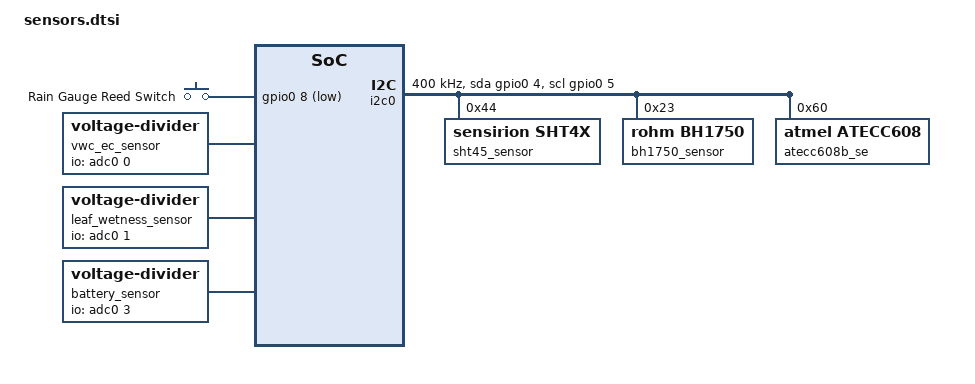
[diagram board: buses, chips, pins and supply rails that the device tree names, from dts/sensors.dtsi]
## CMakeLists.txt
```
cmake_minimum_required(VERSION 3.20.0)
find_package(Zephyr REQUIRED HINTS $ENV{ZEPHYR_BASE})
project(flip_sensor_node)

# Target sources
target_sources(app PRIVATE
    src/main.c
    src/sensors/sht45.c
    src/sensors/vwc_ec.c
    src/sensors/leaf_wetness.c
    src/sensors/rain_gauge.c
    src/sensors/bh1750.c
    src/sensors/battery.c
    src/comms/lora_sx1262.c
    src/comms/mqtt_sn.c
    src/comms/protocol.c
    src/storage/littlefs_manager.c
    src/storage/buffer_protocol.c
    src/ota/mcuboot_client.c
    src/ota/sigstore_verify.c
    src/power/deep_sleep.c
    src/power/solar_charger.c
    src/power/watchdog.c
    src/utils/cbor_codec.c
    src/utils/crc16.c
)

# Target include directories
target_include_directories(app PRIVATE
    ${CMAKE_CURRENT_SOURCE_DIR}/src
    ${CMAKE_CURRENT_SOURCE_DIR}/src/sensors
    ${CMAKE_CURRENT_SOURCE_DIR}/src/comms
    ${CMAKE_CURRENT_SOURCE_DIR}/src/storage
    ${CMAKE_CURRENT_SOURCE_DIR}/src/ota
    ${CMAKE_CURRENT_SOURCE_DIR}/src/power
    ${CMAKE_CURRENT_SOURCE_DIR}/src/utils
)
```

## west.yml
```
manifest:
  remotes:
    - name: zephyrproject-rtos
      url-base: https://github.com/zephyrproject-rtos
  defaults:
    remote: zephyrproject-rtos
    revision: v3.6.0
  projects:
    - name: zephyr
      remote: zephyrproject-rtos
      revision: v3.6.0
      import: true
    - name: hal_espressif
      remote: zephyrproject-rtos
      revision: zephyr
      path: modules/hal/espressif
    - name: mcuboot
      remote: zephyrproject-rtos
      revision: v2.0.0
      path: bootloader/mcuboot
    - name: tinycbor
      remote: zephyrproject-rtos
      revision: zephyr
      path: modules/lib/tinycbor
  self:
    path: application
```

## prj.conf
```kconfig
# Zephyr Kernel & Logging
CONFIG_LOG=y
CONFIG_LOG_MODE_IMMEDIATE=y
CONFIG_PRINTK=y
CONFIG_CBPRINTF_FP_SUPPORT=y

# SoC & Target Architecture
CONFIG_SOC_ESP32C3=y
CONFIG_MAIN_STACK_SIZE=4096
CONFIG_SYSTEM_WORKQUEUE_STACK_SIZE=2048

# Hardware Drivers
CONFIG_GPIO=y
CONFIG_I2C=y
CONFIG_SPI=y
CONFIG_ADC=y

# Sensors
CONFIG_SENSOR=y
CONFIG_SHT4X=y
CONFIG_BH1750=y

# LoRa SX1262 Transceiver
CONFIG_LORA=y
CONFIG_LORA_SX126X=y

# Storage & LittleFS External/Internal Flash
CONFIG_FILE_SYSTEM=y
CONFIG_FILE_SYSTEM_LITTLEFS=y
CONFIG_FLASH_MAP=y
CONFIG_FLASH=y
CONFIG_FLASH_PAGE_LAYOUT=y

# Power Management & Deep Sleep
CONFIG_PM=y
CONFIG_PM_DEVICE=y

# Hardware Watchdog
CONFIG_WATCHDOG=y
CONFIG_WDT_DISABLE_AT_BOOT=n

# MCUboot & Secure OTA
CONFIG_BOOTLOADER_MCUBOOT=y
CONFIG_MCUBOOT_IMAGE_VERSION="1.0.0"
CONFIG_IMG_MANAGER=y
CONFIG_FLASH_MAP=y
CONFIG_STREAM_FLASH=y

# Cryptography & CBOR
CONFIG_TINYCBOR=y
CONFIG_CRYPTO=y
CONFIG_MBEDTLS=y
CONFIG_MBEDTLS_CIPHER=y
CONFIG_MBEDTLS_SHA256=y
CONFIG_MBEDTLS_ECDSA_DETERMINISTIC=y

# RTC / Real-Time Counter
CONFIG_COUNTER=y
```

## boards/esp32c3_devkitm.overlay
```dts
/*
 * Copyright (c) 2026 FLIP Project / Krishi Bhoomi Setu
 * ESP32-C3 DevKitM Board Overlay for FLIP Sensor Node
 */

#include "../dts/sensors.dtsi"
#include "../dts/lora.dtsi"

/ {
	chosen {
		zephyr,console = &uart0;
		zephyr,shell-uart = &uart0;
		zephyr,sram = &sram0;
		zephyr,flash = &flash0;
		zephyr,code-partition = &slot0_partition;
	};

	aliases {
		wdt = &wdt0;
	};

	fstab {
		compatible = "zephyr,fstab";
		lfs: lfs {
			compatible = "zephyr,fstab,littlefs";
			mount-point = "/lfs";
			partition = <&storage_partition>;
			automount;
			read-size = <16>;
			prog-size = <16>;
			cache-size = <64>;
			lookahead-size = <32>;
			block-cycles = <512>;
		};
	};
};

&flash0 {
	partitions {
		compatible = "fixed-partitions";
		#address-cells = <1>;
		#size-cells = <1>;

		/* 64KB MCUboot Bootloader Partition */
		boot_partition: partition@0 {
			label = "mcuboot";
			reg = <0x00000000 0x00010000>;
			read-only;
		};

		/* Slot 0 Active App Partition: 1728KB */
		slot0_partition: partition@10000 {
			label = "image-0";
			reg = <0x00010000 0x001B0000>;
		};

		/* Slot 1 Staging App Partition: 1728KB */
		slot1_partition: partition@1C0000 {
			label = "image-1";
			reg = <0x001C0000 0x001B0000>;
		};

		/* Scratch Partition: 128KB for MCUboot swap */
		scratch_partition: partition@370000 {
			label = "image-scratch";
			reg = <0x00370000 0x00020000>;
		};

		/* LittleFS Offline Telemetry Storage: 448KB */
		storage_partition: partition@390000 {
			label = "lfs_storage";
			reg = <0x00390000 0x00070000>;
		};
	};
};

&wdt0 {
	status = "okay";
};
```

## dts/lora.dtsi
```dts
/*
 * FLIP Sensor Node DTS - LoRa SX1262 Definition
 * Target: ESP32-C3
 */

/ {
	aliases {
		lora0 = &sx1262;
		lora-sx1262 = &sx1262;
	};
};

&spi2 {
	status = "okay";
	#address-cells = <1>;
	#size-cells = <0>;

	cs-gpios = <&gpio0 10 GPIO_ACTIVE_LOW>;

	sx1262: sx1262@0 {
		compatible = "semtech,sx1262";
		reg = <0>;
		spi-max-frequency = <10000000>;
		reset-gpios = <&gpio0 19 GPIO_ACTIVE_LOW>;
		busy-gpios = <&gpio0 18 GPIO_ACTIVE_HIGH>;
		dio1-gpios = <&gpio0 9 GPIO_ACTIVE_HIGH>;
		dio2-tx-enable;
		status = "okay";
	};
};
```

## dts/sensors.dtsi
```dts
/*
 * FLIP Sensor Node DTS - Sensors Definition
 * Target: ESP32-C3
 */

/ {
	aliases {
		sht45 = &sht45_sensor;
		bh1750 = &bh1750_sensor;
		atecc608b = &atecc608b_se;
		vwc-ec = &vwc_ec_sensor;
		leaf-wetness = &leaf_wetness_sensor;
		rain-gauge = &rain_gauge_sensor;
		battery-adc = &battery_sensor;
	};

	rain_gauge_sensor: rain_gauge {
		compatible = "gpio-keys";
		rain_gauge_pin: rain_gauge_pin {
			gpios = <&gpio0 8 (GPIO_PULL_UP | GPIO_ACTIVE_LOW)>;
			label = "Rain Gauge Reed Switch";
		};
	};

	vwc_ec_sensor: vwc_ec {
		compatible = "voltage-divider";
		io-channels = <&adc0 0>;
		output-ohms = <10000>;
		full-ohms = <20000>;
	};

	leaf_wetness_sensor: leaf_wetness {
		compatible = "voltage-divider";
		io-channels = <&adc0 1>;
		output-ohms = <10000>;
		full-ohms = <20000>;
	};

	battery_sensor: battery_adc {
		compatible = "voltage-divider";
		io-channels = <&adc0 3>;
		output-ohms = <100000>;
		full-ohms = <200000>; /* 2:1 divider for 3.2V - 4.2V battery */
	};
};

&i2c0 {
	status = "okay";
	clock-frequency = <I2C_BITRATE_FAST>;
	sda-gpios = <&gpio0 4 (GPIO_PULL_UP | GPIO_OPEN_DRAIN)>;
	scl-gpios = <&gpio0 5 (GPIO_PULL_UP | GPIO_OPEN_DRAIN)>;

	sht45_sensor: sht4x@44 {
		compatible = "sensirion,sht4x";
		reg = <0x44>;
		repeatability = <0>; /* High repeatability */
		status = "okay";
	};

	bh1750_sensor: bh1750@23 {
		compatible = "rohm,bh1750";
		reg = <0x23>;
		status = "okay";
	};

	atecc608b_se: atecc608b@60 {
		compatible = "atmel,atecc608";
		reg = <0x60>;
		status = "okay";
	};
};
```

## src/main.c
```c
/*
 * FLIP (Farm Lifecycle Intelligence Platform)
 * Agricultural IoT Sensor Node Firmware — Zephyr RTOS
 * Target: ESP32-C3 RISC-V SoC + SX1262 LoRa + Sensors
 */

#include <zephyr/kernel.h>
#include <zephyr/logging/log.h>
#include <zephyr/device.h>
#include <zephyr/sys/printk.h>

/* Subsystem drivers */
#include "sensors/sht45.h"
#include "sensors/vwc_ec.h"
#include "sensors/leaf_wetness.h"
#include "sensors/rain_gauge.h"
#include "sensors/bh1750.h"
#include "sensors/battery.h"

#include "comms/lora_sx1262.h"
#include "comms/protocol.h"
#include "comms/mqtt_sn.h"

#include "storage/littlefs_manager.h"
#include "storage/buffer_protocol.h"

#include "ota/mcuboot_client.h"
#include "ota/sigstore_verify.h"

#include "power/deep_sleep.h"
#include "power/solar_charger.h"
#include "power/watchdog.h"

#include "utils/cbor_codec.h"
#include "utils/crc16.h"

LOG_MODULE_REGISTER(sensor_node, LOG_LEVEL_INF);

#define FIRMWARE_VERSION "1.0.0"
#define SLEEP_INTERVAL_MIN 15
#define MAX_TX_RETRIES 3
#define WDT_TIMEOUT_MS 30000

static struct sensor_packet current_pkt;
static uint16_t sequence_id = 0;
static bool gateway_online = false;

static void get_device_mac(uint8_t mac[8])
{
    /* Deterministic 8-byte device identifier */
    mac[0] = 0xF0;
    mac[1] = 0xDE;
    mac[2] = 0xF1;
    mac[3] = 0x10;
    mac[4] = 0x00;
    mac[5] = 0x00;
    mac[6] = 0x01;
    mac[7] = 0x01;
}

static void process_gateway_response(const uint8_t *rx_buf, size_t rx_len)
{
    uint8_t msg_type = 0;
    uint16_t seq = 0;
    const uint8_t *payload = NULL;
    uint8_t payload_len = 0;

    uint8_t dev_id[8] = {0};
    int ret = flip_protocol_parse(rx_buf, rx_len, &msg_type, &seq, dev_id, &payload, &payload_len);
    if (ret != 0) {
        LOG_WRN("Received unparseable LoRa frame (%d)", ret);
        return;
    }

    if (msg_type == FLIP_MSG_ACK) {
        gateway_online = true;
        LOG_INF("Gateway ACK confirmed for seq=%u", seq);
    } else if (msg_type == FLIP_MSG_OTA_TRIGGER) {
        LOG_INF("Gateway initiated OTA upgrade trigger!");
        mcuboot_client_request_upgrade(false);
    }
}

int main(void)
{
    LOG_INF("=================================================");
    LOG_INF("  FLIP Sensor Node v%s (Zephyr RTOS)", FIRMWARE_VERSION);
    LOG_INF("  Target: ESP32-C3 | Sensors Only | LoRa IN865");
    LOG_INF("=================================================");

    /* Initialize Hardware Watchdog (30s timeout) */
    watchdog_init(WDT_TIMEOUT_MS);
    watchdog_feed();

    /* Initialize MCUboot & Image Validation */
    mcuboot_client_init();
    sigstore_verify_init();

    /* Initialize Local Storage (LittleFS) */
    littlefs_init();

    /* Initialize Power & Sleep */
    deep_sleep_init();
    solar_charger_init();

    /* Initialize Sensors */
    sht45_init();
    vwc_ec_init();
    leaf_wetness_init();
    rain_gauge_init();
    bh1750_init();
    battery_init();

    /* Initialize LoRa SX1262 */
    lora_sx1262_init();

    LOG_INF("All node subsystems initialized successfully. Entering telemetry loop.");

    while (1) {
        watchdog_feed();

        /* Assemble Telemetry Packet */
        memset(&current_pkt, 0, sizeof(current_pkt));
        current_pkt.timestamp = (uint32_t)(k_uptime_get() / 1000);
        current_pkt.seq_id = sequence_id++;
        get_device_mac(current_pkt.device_id);

        /* Read physical agricultural sensors */
        sht45_read(&current_pkt.temp_air, &current_pkt.rh);
        vwc_ec_read(&current_pkt.vwc, &current_pkt.ec, &current_pkt.temp_soil);
        leaf_wetness_read(&current_pkt.leaf_wet);
        current_pkt.rain_mm = rain_gauge_get_and_reset();
        bh1750_read(&current_pkt.par, &current_pkt.par);
        current_pkt.battery_mv = battery_read_mv();

        LOG_INF("Sampled [seq=%u]: AirTemp=%.1fC RH=%.1f%% SoilVWC=%.1f%% Rain=%.1fmm PAR=%.1f Bat=%umV",
                current_pkt.seq_id, current_pkt.temp_air, current_pkt.rh,
                current_pkt.vwc, current_pkt.rain_mm, current_pkt.par,
                current_pkt.battery_mv);

        /* Encode into compact CBOR */
        uint8_t cbor_buf[128];
        size_t cbor_len = 0;
        int ret = cbor_encode_sensor_packet(&current_pkt, cbor_buf, sizeof(cbor_buf), &cbor_len);
        if (ret != 0) {
            LOG_ERR("CBOR encoding failed (%d)", ret);
            continue;
        }

        /* Frame with FLIP protocol + CRC16 */
        uint8_t tx_frame[160];
        size_t frame_len = 0;
        ret = flip_protocol_frame(FLIP_MSG_TELEMETRY, current_pkt.seq_id, current_pkt.device_id,
                                  cbor_buf, (uint8_t)cbor_len, tx_frame, sizeof(tx_frame), &frame_len);

        /* Transmit via LoRa with retries */
        bool tx_success = false;
        for (int retry = 0; retry < MAX_TX_RETRIES; retry++) {
            watchdog_feed();
            ret = lora_sx1262_send(tx_frame, frame_len);
            if (ret == 0) {
                tx_success = true;
                LOG_INF("LoRa TX success (seq=%u, len=%zu bytes)", current_pkt.seq_id, frame_len);
                break;
            }
            LOG_WRN("LoRa TX attempt %d failed, retrying in 2s...", retry + 1);
            k_sleep(K_SECONDS(2));
        }

        /* If TX failed after all retries, buffer to LittleFS flash */
        if (!tx_success) {
            LOG_WRN("LoRa unavailable, buffering packet seq=%u to LittleFS", current_pkt.seq_id);
            littlefs_write_packet(&current_pkt);
            gateway_online = false;
        } else {
            /* Open receive window for Gateway ACK */
            uint8_t rx_buf[64];
            size_t rx_len = 0;
            int32_t rx_rssi = 0;
            int8_t rx_snr = 0;

            ret = lora_sx1262_recv(rx_buf, sizeof(rx_buf), &rx_len, &rx_rssi, &rx_snr, K_MSEC(500));
            if (ret == 0 && rx_len > 0) {
                current_pkt.rssi = (int8_t)rx_rssi;
                current_pkt.snr = rx_snr;
                process_gateway_response(rx_buf, rx_len);
            }
        }

        /* If Gateway link is responsive, flush buffered historical packets */
        if (gateway_online && littlefs_get_buffered_count() > 0) {
            LOG_INF("Replaying offline buffer: %zu packets queued in flash", littlefs_get_buffered_count());
            buffer_protocol_flush_batch(10);
        }

        /* Power down peripherals and enter deep sleep for configured cycle */
        watchdog_feed();
        LOG_INF("Entering low-power sleep for %d minutes...", SLEEP_INTERVAL_MIN);
        deep_sleep_enter_minutes(SLEEP_INTERVAL_MIN);
    }

    return 0;
}
```
